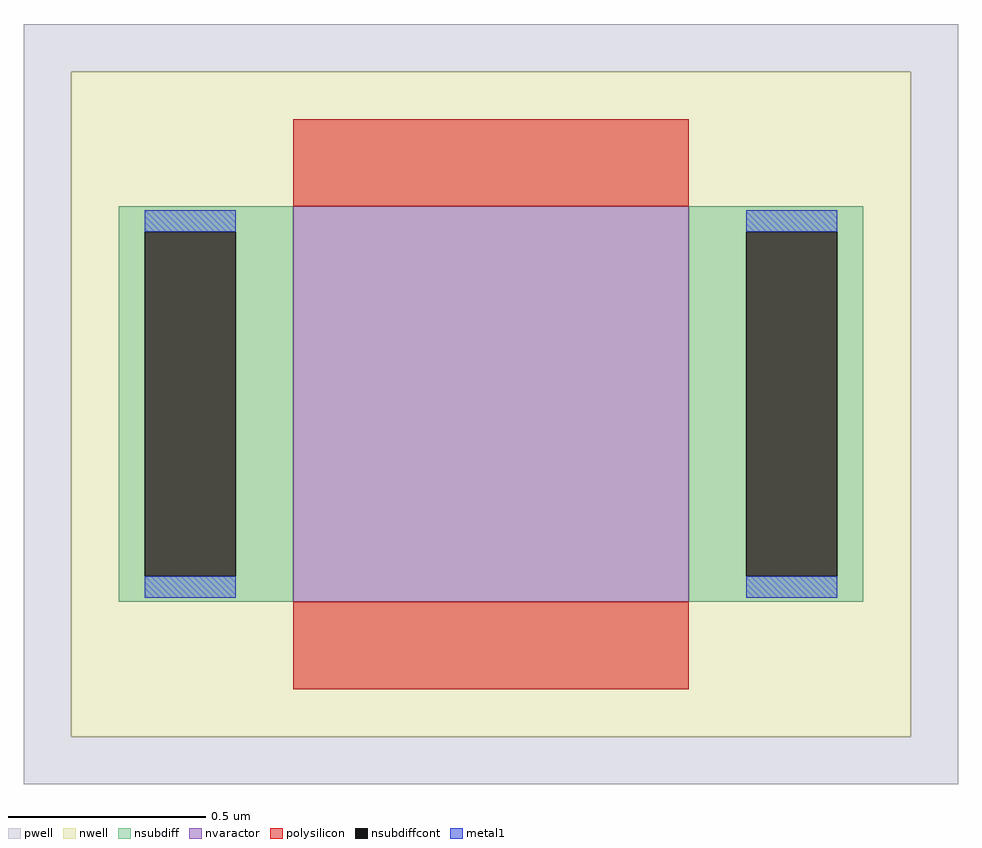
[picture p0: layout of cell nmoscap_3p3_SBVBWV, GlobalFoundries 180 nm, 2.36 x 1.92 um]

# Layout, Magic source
magic
tech gf180mcuC
magscale 1 10
<< nwell >>
rect -212 -168 212 168
<< pwell >>
rect -236 168 236 192
rect -236 -168 -212 168
rect 212 -168 236 168
rect -236 -192 236 -168
<< nsubdiff >>
rect -188 87 -100 100
rect -188 -87 -175 87
rect -129 -87 -100 87
rect -188 -100 -100 -87
rect 100 87 188 100
rect 100 -87 129 87
rect 175 -87 188 87
rect 100 -100 188 -87
<< nsubdiffcont >>
rect -175 -87 -129 87
rect 129 -87 175 87
<< nvaractor >>
rect -100 -100 100 100
<< polysilicon >>
rect -100 100 100 144
rect -100 -144 100 -100
<< metal1 >>
rect -175 87 -129 98
rect -175 -98 -129 -87
rect 129 87 175 98
rect 129 -98 175 -87
<< properties >>
string gencell nmoscap_3p3
string library gf180mcu
string parameters w 1.0 l 1.0 m 1 nf 1 diffcov 100 polycov 100 guard 0 glc 0 grc 0 gtc 0 gbc 0 tbcov 100 rlcov 100 topc 0 botc 0 poverlap 0 doverlap 1 lmin 0.28 wmin 0.22 full_metal 0 compatible {nmoscap_3p3 nmoscap_6p0}
<< end >>
